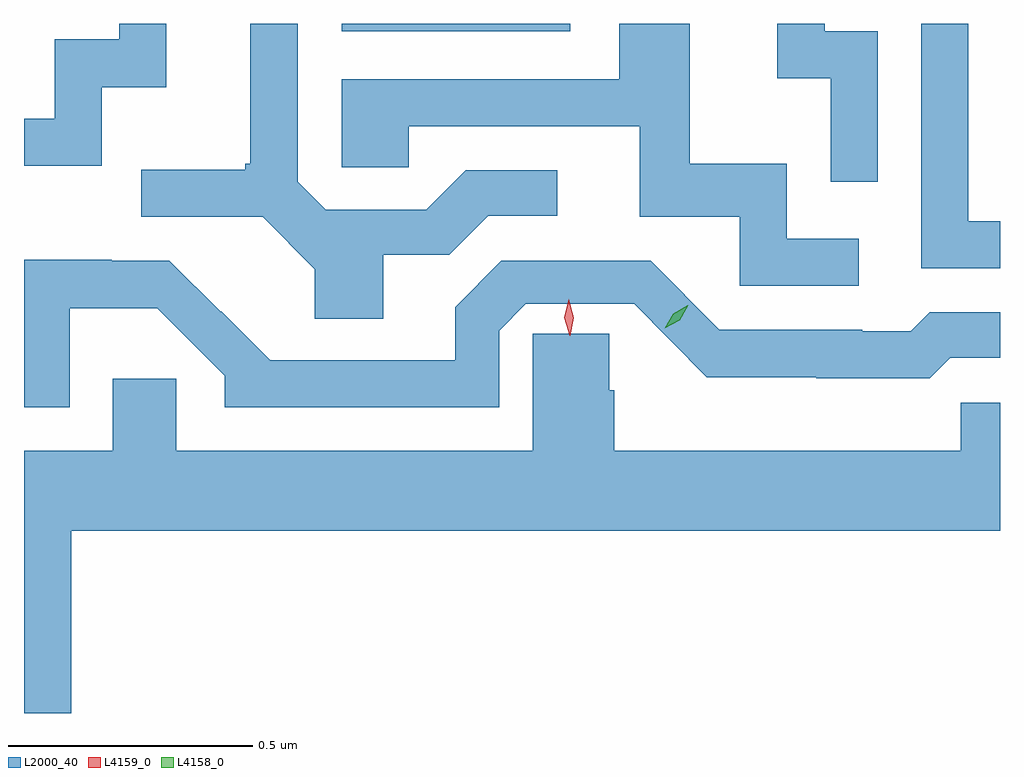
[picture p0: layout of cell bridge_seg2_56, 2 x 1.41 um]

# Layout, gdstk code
import gdstk
lib = gdstk.Library(unit=1e-6, precision=1e-09)
def R(c, l, rs):  # rectangles x0, y0, x1, y1
    for r in rs: c.add(gdstk.rectangle(r[:2], r[2:], *l))
def P(c, l, *ps):  # polygons
    for p in ps: c.add(gdstk.Polygon(p, *l))
L2000_40 = (2000, 40)
L4158_0 = (4158, 0)
L4159_0 = (4159, 0)

bridge_seg2_56 = lib.new_cell('bridge_seg2_56')
R(bridge_seg2_56, L2000_40, [(1136.754,608.7,1137.222,608.715)])
P(bridge_seg2_56, L2000_40, [(1138.103,608.31),(1138.038,608.31),(1138.038,608.715),(1137.942,608.715),(1137.942,608.214),(1138.103,608.214)],
  [(1137.852,608.7),(1137.744,608.7),(1137.744,608.715),(1137.647,608.715),(1137.647,608.603),(1137.756,608.603),(1137.756,608.391),(1137.852,608.391)],
  [(1136.839,608.242),(1136.974,608.242),(1137.054,608.322),(1137.196,608.322),(1137.196,608.415),(1137.008,608.415),(1136.927,608.334),(1136.721,608.334),(1136.664,608.391),(1136.664,608.715),(1136.567,608.715),(1136.567,608.428),(1136.556,608.428),(1136.556,608.416),(1136.343,608.416),(1136.343,608.319),(1136.592,608.319),(1136.699,608.212),(1136.699,608.11),(1136.839,608.11)],
  [(1137.814,608.274),(1137.666,608.274),(1137.666,608.428),(1137.467,608.428),(1137.467,608.715),(1137.323,608.715),(1137.323,608.601),(1136.754,608.601),(1136.754,608.421),(1136.891,608.421),(1136.891,608.505),(1137.365,608.505),(1137.365,608.319),(1137.57,608.319),(1137.57,608.178),(1137.814,608.178)],
  [(1136.262,608.585),(1136.395,608.585),(1136.395,608.715),(1136.298,608.715),(1136.298,608.683),(1136.166,608.683),(1136.166,608.52),(1136.103,608.52),(1136.103,608.424),(1136.262,608.424)],
  [(1136.197,608.132),(1136.376,608.132),(1136.514,607.994),(1136.514,607.929),(1137.077,607.929),(1137.077,608.086),(1137.131,608.141),(1137.353,608.141),(1137.502,607.991),(1137.726,607.991),(1137.726,607.989),(1137.959,607.989),(1138.001,608.031),(1138.103,608.031),(1138.103,608.124),(1137.959,608.124),(1137.92,608.085),(1137.821,608.085),(1137.821,608.088),(1137.528,608.088),(1137.387,608.229),(1137.081,608.229),(1136.987,608.134),(1136.987,608.025),(1136.608,608.025),(1136.507,608.126),(1136.506,608.125),(1136.401,608.229),(1136.283,608.229),(1136.283,608.231),(1136.103,608.231),(1136.103,607.929),(1136.197,607.929)],
  [(1136.2,607.676),(1138.103,607.676),(1138.103,607.938),(1138.023,607.938),(1138.023,607.84),(1137.313,607.84),(1137.313,607.964),(1137.302,607.964),(1137.302,608.08),(1137.146,608.08),(1137.146,607.84),(1136.415,607.84),(1136.415,607.988),(1136.285,607.988),(1136.285,607.84),(1136.103,607.84),(1136.103,607.302),(1136.2,607.302)])
P(bridge_seg2_56, L4158_0, [(1137.416,608.091),(1137.416,608.091),(1137.433,608.121),(1137.463,608.138),(1137.464,608.138),(1137.464,608.138),(1137.447,608.107),(1137.416,608.091)])
P(bridge_seg2_56, L4159_0, [(1137.221,608.076),(1137.221,608.076),(1137.21,608.113),(1137.219,608.15),(1137.219,608.15),(1137.219,608.15),(1137.23,608.113),(1137.222,608.076)])

lib.write_gds('bridge_seg2_56.gds')
